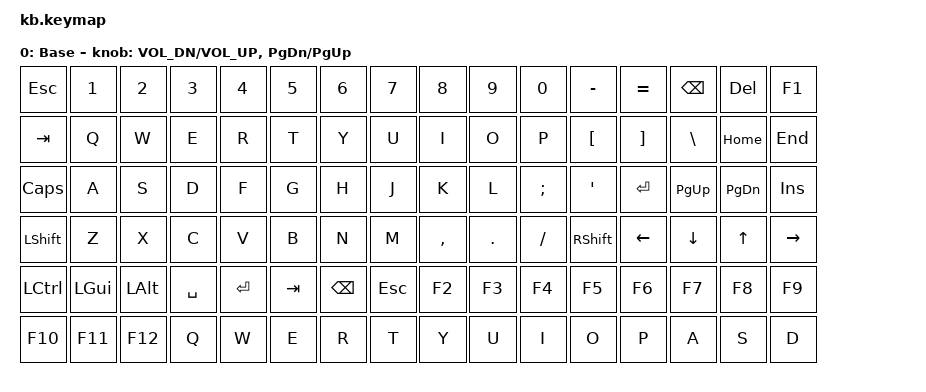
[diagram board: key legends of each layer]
#include <behaviors.dtsi>
#include <dt-bindings/zmk/keys.h>

/ {
    sensors: sensors {
        compatible = "zmk,keymap-sensors";
        sensors = <&encoder_1 &encoder_2>;
        triggers-per-rotation = <20>;
    };

    keymap {
        compatible = "zmk,keymap";

        default_layer {
            display-name = "Base";
            sensor-bindings = <&inc_dec_kp C_VOL_DN C_VOL_UP &inc_dec_kp PG_DN PG_UP>;
            bindings = <
&kp ESC   &kp N1   &kp N2   &kp N3   &kp N4   &kp N5   &kp N6   &kp N7   &kp N8   &kp N9   &kp N0   &kp MINUS &kp EQUAL &kp BSPC  &kp DEL   &kp F1
&kp TAB   &kp Q    &kp W    &kp E    &kp R    &kp T    &kp Y    &kp U    &kp I    &kp O    &kp P    &kp LBKT  &kp RBKT  &kp BSLH  &kp HOME  &kp END
&kp CAPS  &kp A    &kp S    &kp D    &kp F    &kp G    &kp H    &kp J    &kp K    &kp L    &kp SEMI &kp SQT   &kp RET   &kp PG_UP &kp PG_DN &kp INS
&kp LSHFT &kp Z    &kp X    &kp C    &kp V    &kp B    &kp N    &kp M    &kp COMMA &kp DOT  &kp FSLH &kp RSHFT &kp LEFT  &kp DOWN  &kp UP    &kp RIGHT
&kp LCTRL &kp LGUI &kp LALT &kp SPACE &kp RET  &kp TAB  &kp BSPC &kp ESC  &kp F2   &kp F3   &kp F4   &kp F5    &kp F6    &kp F7    &kp F8    &kp F9
&kp F10   &kp F11  &kp F12  &kp Q    &kp W    &kp E    &kp R    &kp T    &kp Y    &kp U    &kp I    &kp O     &kp P     &kp A     &kp S     &kp D
            >;
        };
    };
};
